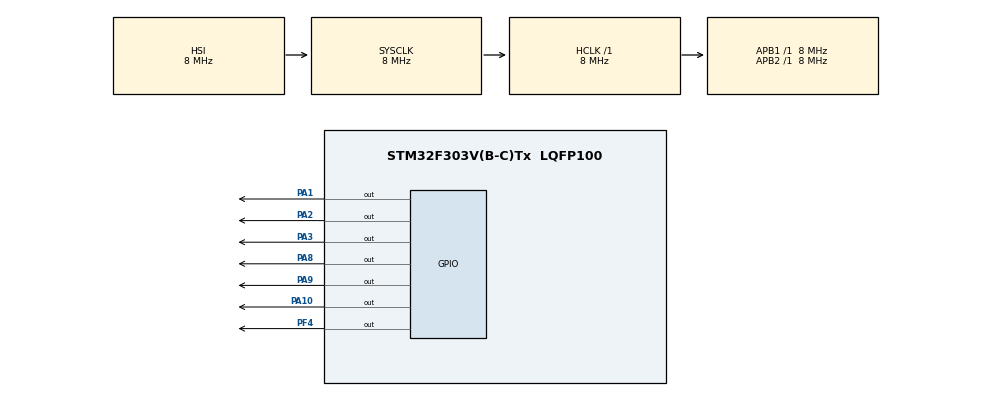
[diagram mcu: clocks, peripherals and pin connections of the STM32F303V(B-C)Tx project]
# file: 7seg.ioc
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Mcu.Family=STM32F3
Mcu.Name=STM32F303V(B-C)Tx
Mcu.Package=LQFP100
NVIC.PriorityGroup=NVIC_PRIORITYGROUP_4
PA1.Signal=GPIO_Output
PA10.Signal=GPIO_Output
PA13.Mode=Serial_Wire
PA13.Signal=SYS_JTMS-SWDIO
PA14.Mode=Serial_Wire
PA14.Signal=SYS_JTCK-SWCLK
PA2.Signal=GPIO_Output
PA3.Signal=GPIO_Output
PA8.Signal=GPIO_Output
PA9.Signal=GPIO_Output
PF4.Signal=GPIO_Output
ProjectManager.HeapSize=0x200
ProjectManager.StackSize=0x400
ProjectManager.TargetToolchain=STM32CubeIDE
RCC.AHBFreq_Value=8000000
RCC.APB1Freq_Value=8000000
RCC.APB2Freq_Value=8000000
RCC.CortexFreq_Value=8000000
RCC.HSE_VALUE=8000000
RCC.HSI_VALUE=8000000
RCC.LSE_VALUE=32768
RCC.SYSCLKFreq_VALUE=8000000
board=custom

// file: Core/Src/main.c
/* USER CODE BEGIN Header */
/**
  ******************************************************************************
  * @file           : main.c
  * @brief          : Main program body
  ******************************************************************************
  * @attention
  *
  * Copyright (c) 2024 STMicroelectronics.
  * All rights reserved.
  *
  * This software is licensed under terms that can be found in the LICENSE file
  * in the root directory of this software component.
  * If no LICENSE file comes with this software, it is provided AS-IS.
  *
  ******************************************************************************
  */
/* USER CODE END Header */
#include "main.h"

void SystemClock_Config(void);
static void MX_GPIO_Init(void);

int main(void)
{

  /* MCU Configuration--------------------------------------------------------*/

  /* Reset of all peripherals, Initializes the Flash interface and the Systick. */
  HAL_Init();

  /* Configure the system clock */
  SystemClock_Config();

  /* Initialize all configured peripherals */
  MX_GPIO_Init();

  /* Infinite loop */
  /* USER CODE BEGIN WHILE */
  while (1)
  {
	      HAL_GPIO_WritePin(GPIOA, GPIO_PIN_1, 0);
	  	  HAL_GPIO_WritePin(GPIOA, GPIO_PIN_2, 1);
	  	  HAL_GPIO_WritePin(GPIOA, GPIO_PIN_3, 1);
	  	  HAL_GPIO_WritePin(GPIOA, GPIO_PIN_4, 1);
	  	  HAL_GPIO_WritePin(GPIOA, GPIO_PIN_8, 1);
	  	  HAL_GPIO_WritePin(GPIOA, GPIO_PIN_9, 1);
	  	  HAL_GPIO_WritePin(GPIOA, GPIO_PIN_10, 1);
	  	  HAL_Delay(1000);

	  	  HAL_GPIO_WritePin(GPIOA, GPIO_PIN_1, 0);
	  	  HAL_GPIO_WritePin(GPIOA, GPIO_PIN_2, 0);
	  	  HAL_GPIO_WritePin(GPIOA, GPIO_PIN_3, 0);
	  	  HAL_GPIO_WritePin(GPIOA, GPIO_PIN_4, 1);
	  	  HAL_GPIO_WritePin(GPIOA, GPIO_PIN_8, 1);
	  	  HAL_GPIO_WritePin(GPIOA, GPIO_PIN_9, 0);
	  	  HAL_GPIO_WritePin(GPIOA, GPIO_PIN_10, 0);
	  	  HAL_Delay(1000);

	  	  HAL_GPIO_WritePin(GPIOA, GPIO_PIN_1, 1);
	  	  HAL_GPIO_WritePin(GPIOA, GPIO_PIN_2, 0);
	  	  HAL_GPIO_WritePin(GPIOA, GPIO_PIN_3, 1);
	  	  HAL_GPIO_WritePin(GPIOA, GPIO_PIN_4, 1);
	  	  HAL_GPIO_WritePin(GPIOA, GPIO_PIN_8, 0);
	  	  HAL_GPIO_WritePin(GPIOA, GPIO_PIN_9, 1);
	  	  HAL_GPIO_WritePin(GPIOA, GPIO_PIN_10, 1);
	  	  HAL_Delay(1000);

	  	  HAL_GPIO_WritePin(GPIOA, GPIO_PIN_1, 1);
	  	  HAL_GPIO_WritePin(GPIOA, GPIO_PIN_2, 0);
	  	  HAL_GPIO_WritePin(GPIOA, GPIO_PIN_3, 1);
	  	  HAL_GPIO_WritePin(GPIOA, GPIO_PIN_4, 1);
	  	  HAL_GPIO_WritePin(GPIOA, GPIO_PIN_8, 1);
	  	  HAL_GPIO_WritePin(GPIOA, GPIO_PIN_9, 1);
	  	  HAL_GPIO_WritePin(GPIOA, GPIO_PIN_10, 0);
	  	  HAL_Delay(1000);

	  	  HAL_GPIO_WritePin(GPIOA, GPIO_PIN_1, 1);
	  	  HAL_GPIO_WritePin(GPIOA, GPIO_PIN_2, 1);
	  	  HAL_GPIO_WritePin(GPIOA, GPIO_PIN_3, 0);
	  	  HAL_GPIO_WritePin(GPIOA, GPIO_PIN_4, 1);
	  	  HAL_GPIO_WritePin(GPIOA, GPIO_PIN_8, 1);
	  	  HAL_GPIO_WritePin(GPIOA, GPIO_PIN_9, 0);
	  	  HAL_GPIO_WritePin(GPIOA, GPIO_PIN_10, 0);
	  	  HAL_Delay(1000);

	  	  HAL_GPIO_WritePin(GPIOA, GPIO_PIN_1, 1);
	  	  HAL_GPIO_WritePin(GPIOA, GPIO_PIN_2, 1);
	  	  HAL_GPIO_WritePin(GPIOA, GPIO_PIN_3, 1);
	  	  HAL_GPIO_WritePin(GPIOA, GPIO_PIN_4, 0);
	  	  HAL_GPIO_WritePin(GPIOA, GPIO_PIN_8, 1);
	  	  HAL_GPIO_WritePin(GPIOA, GPIO_PIN_9, 1);
	  	  HAL_GPIO_WritePin(GPIOA, GPIO_PIN_10, 0);
	  	  HAL_Delay(1000);

	  	  HAL_GPIO_WritePin(GPIOA, GPIO_PIN_1, 1);
	  	  HAL_GPIO_WritePin(GPIOA, GPIO_PIN_2, 1);
	  	  HAL_GPIO_WritePin(GPIOA, GPIO_PIN_3, 1);
	  	  HAL_GPIO_WritePin(GPIOA, GPIO_PIN_4, 0);
	  	  HAL_GPIO_WritePin(GPIOA, GPIO_PIN_8, 1);
	  	  HAL_GPIO_WritePin(GPIOA, GPIO_PIN_9, 1);
	  	  HAL_GPIO_WritePin(GPIOA, GPIO_PIN_10, 1);
	  	  HAL_Delay(1000);

	  	  HAL_GPIO_WritePin(GPIOA, GPIO_PIN_1, 0);
	  	  HAL_GPIO_WritePin(GPIOA, GPIO_PIN_2, 0);
	  	  HAL_GPIO_WritePin(GPIOA, GPIO_PIN_3, 1);
	  	  HAL_GPIO_WritePin(GPIOA, GPIO_PIN_4, 1);
	  	  HAL_GPIO_WritePin(GPIOA, GPIO_PIN_8, 1);
	  	  HAL_GPIO_WritePin(GPIOA, GPIO_PIN_9, 0);
	  	  HAL_GPIO_WritePin(GPIOA, GPIO_PIN_10, 0);
	  	  HAL_Delay(1000);

	  	  HAL_GPIO_WritePin(GPIOA, GPIO_PIN_1, 1);
	  	  HAL_GPIO_WritePin(GPIOA, GPIO_PIN_2, 1);
	  	  HAL_GPIO_WritePin(GPIOA, GPIO_PIN_3, 1);
	  	  HAL_GPIO_WritePin(GPIOA, GPIO_PIN_4, 1);
	  	  HAL_GPIO_WritePin(GPIOA, GPIO_PIN_8, 1);
	  	  HAL_GPIO_WritePin(GPIOA, GPIO_PIN_9, 1);
	  	  HAL_GPIO_WritePin(GPIOA, GPIO_PIN_10, 1);
	  	  HAL_Delay(1000);

	  	  HAL_GPIO_WritePin(GPIOA, GPIO_PIN_1, 1);
	  	  HAL_GPIO_WritePin(GPIOA, GPIO_PIN_2, 1);
	  	  HAL_GPIO_WritePin(GPIOA, GPIO_PIN_3, 1);
	  	  HAL_GPIO_WritePin(GPIOA, GPIO_PIN_4, 1);
	  	  HAL_GPIO_WritePin(GPIOA, GPIO_PIN_8, 1);
	  	  HAL_GPIO_WritePin(GPIOA, GPIO_PIN_9, 1);
	  	  HAL_GPIO_WritePin(GPIOA, GPIO_PIN_10, 0);
	  	  HAL_Delay(1000);
    /* USER CODE END WHILE */

  }
}

void SystemClock_Config(void)
{
  RCC_OscInitTypeDef RCC_OscInitStruct = {0};
  RCC_ClkInitTypeDef RCC_ClkInitStruct = {0};

  /** Initializes the RCC Oscillators according to the specified parameters
  * in the RCC_OscInitTypeDef structure.
  */
  RCC_OscInitStruct.OscillatorType = RCC_OSCILLATORTYPE_HSI;
  RCC_OscInitStruct.HSIState = RCC_HSI_ON;
  RCC_OscInitStruct.HSICalibrationValue = RCC_HSICALIBRATION_DEFAULT;
  RCC_OscInitStruct.PLL.PLLState = RCC_PLL_NONE;
  if (HAL_RCC_OscConfig(&RCC_OscInitStruct) != HAL_OK)
  {
    Error_Handler();
  }

  /** Initializes the CPU, AHB and APB buses clocks
  */
  RCC_ClkInitStruct.ClockType = RCC_CLOCKTYPE_HCLK|RCC_CLOCKTYPE_SYSCLK
                              |RCC_CLOCKTYPE_PCLK1|RCC_CLOCKTYPE_PCLK2;
  RCC_ClkInitStruct.SYSCLKSource = RCC_SYSCLKSOURCE_HSI;
  RCC_ClkInitStruct.AHBCLKDivider = RCC_SYSCLK_DIV1;
  RCC_ClkInitStruct.APB1CLKDivider = RCC_HCLK_DIV1;
  RCC_ClkInitStruct.APB2CLKDivider = RCC_HCLK_DIV1;

  if (HAL_RCC_ClockConfig(&RCC_ClkInitStruct, FLASH_LATENCY_0) != HAL_OK)
  {
    Error_Handler();
  }
}

static void MX_GPIO_Init(void)
{
  GPIO_InitTypeDef GPIO_InitStruct = {0};

  /* GPIO Ports Clock Enable */
  __HAL_RCC_GPIOA_CLK_ENABLE();
  __HAL_RCC_GPIOF_CLK_ENABLE();

  /*Configure GPIO pin Output Level */
  HAL_GPIO_WritePin(GPIOA, GPIO_PIN_1|GPIO_PIN_2|GPIO_PIN_3|GPIO_PIN_8
                          |GPIO_PIN_9|GPIO_PIN_10, GPIO_PIN_RESET);

  /*Configure GPIO pin Output Level */
  HAL_GPIO_WritePin(GPIOF, GPIO_PIN_4, GPIO_PIN_RESET);

  /*Configure GPIO pins : PA1 PA2 PA3 PA8
                           PA9 PA10 */
  GPIO_InitStruct.Pin = GPIO_PIN_1|GPIO_PIN_2|GPIO_PIN_3|GPIO_PIN_8
                          |GPIO_PIN_9|GPIO_PIN_10;
  GPIO_InitStruct.Mode = GPIO_MODE_OUTPUT_PP;
  GPIO_InitStruct.Pull = GPIO_NOPULL;
  GPIO_InitStruct.Speed = GPIO_SPEED_FREQ_LOW;
  HAL_GPIO_Init(GPIOA, &GPIO_InitStruct);

  /*Configure GPIO pin : PF4 */
  GPIO_InitStruct.Pin = GPIO_PIN_4;
  GPIO_InitStruct.Mode = GPIO_MODE_OUTPUT_PP;
  GPIO_InitStruct.Pull = GPIO_NOPULL;
  GPIO_InitStruct.Speed = GPIO_SPEED_FREQ_LOW;
  HAL_GPIO_Init(GPIOF, &GPIO_InitStruct);

}

void Error_Handler(void)
{
  __disable_irq();
  while (1)
  {
  }
}
